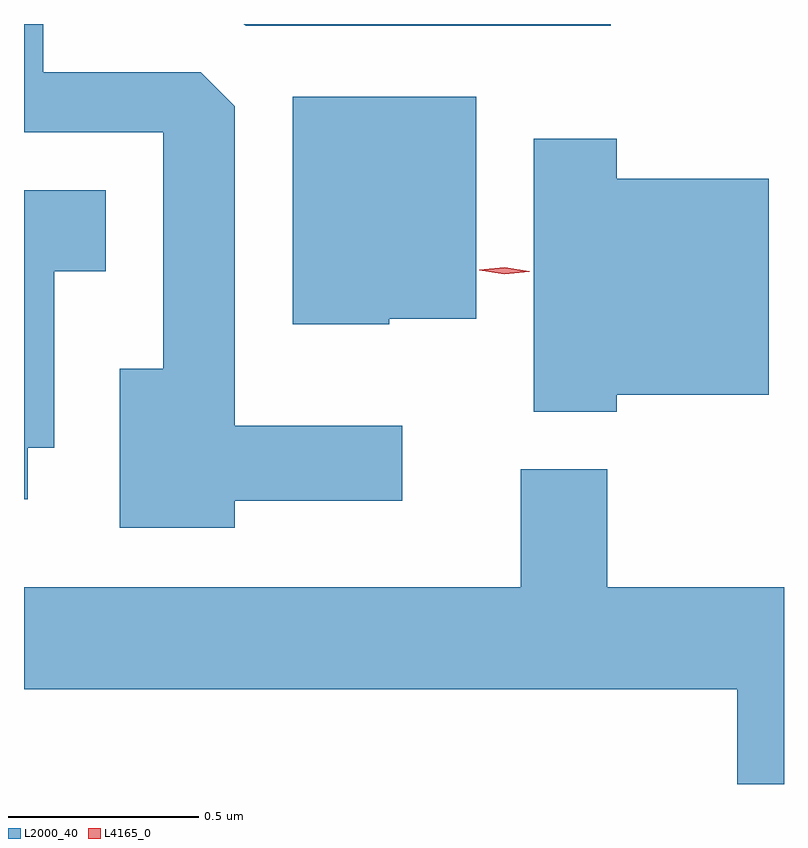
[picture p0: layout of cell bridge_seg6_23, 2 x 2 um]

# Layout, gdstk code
import gdstk
lib = gdstk.Library(unit=1e-6, precision=1e-09)
def P(c, l, *ps):  # polygons
    for p in ps: c.add(gdstk.Polygon(p, *l))
L2000_40 = (2000, 40)
L4165_0 = (4165, 0)

bridge_seg6_23 = lib.new_cell('bridge_seg6_23')
P(bridge_seg6_23, L2000_40, [(1841.628,1640.586),(1840.662,1640.586),(1840.667,1640.581),(1841.628,1640.581)],
  [(1840.639,1639.331),(1841.079,1639.331),(1841.079,1639.529),(1840.639,1639.529),(1840.639,1640.369),(1840.549,1640.459),(1840.134,1640.459),(1840.134,1640.586),(1840.084,1640.586),(1840.084,1640.301),(1840.451,1640.301),(1840.451,1639.679),(1840.336,1639.679),(1840.336,1639.261),(1840.639,1639.261)],
  [(1841.045,1639.811),(1841.274,1639.811),(1841.274,1640.394),(1840.791,1640.394),(1840.791,1639.796),(1841.045,1639.796)],
  [(1841.644,1639.611),(1842.044,1639.611),(1842.044,1640.179),(1841.644,1640.179),(1841.644,1640.284),(1841.426,1640.284),(1841.426,1639.566),(1841.644,1639.566)],
  [(1840.094,1639.471),(1840.164,1639.471),(1840.164,1639.936),(1840.299,1639.936),(1840.299,1640.149),(1840.084,1640.149),(1840.084,1639.336),(1840.094,1639.336)],
  [(1842.084,1639.104),(1841.619,1639.104),(1841.619,1639.414),(1841.391,1639.414),(1841.391,1639.104),(1840.084,1639.104),(1840.084,1638.836),(1841.961,1638.836),(1841.961,1638.586),(1842.084,1638.586)])
P(bridge_seg6_23, L4165_0, [(1841.348,1639.927),(1841.282,1639.938),(1841.282,1639.938),(1841.282,1639.939),(1841.349,1639.946),(1841.414,1639.935),(1841.415,1639.935),(1841.414,1639.934)])

lib.write_gds('bridge_seg6_23.gds')
